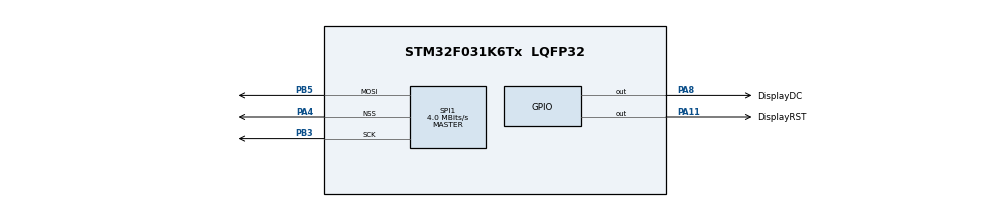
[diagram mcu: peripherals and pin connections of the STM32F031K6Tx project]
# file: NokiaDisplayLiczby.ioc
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Mcu.Family=STM32F0
Mcu.Name=STM32F031K6Tx
Mcu.Package=LQFP32
PA11.GPIO_Label=DisplayRST
PA11.Signal=GPIO_Output
PA4.Mode=NSS_Signal_Hard_Output
PA4.Signal=SPI1_NSS
PA8.GPIO_Label=DisplayDC
PA8.Signal=GPIO_Output
PB3.Mode=TX_Only_Simplex_Unidirect_Master
PB3.Signal=SPI1_SCK
PB5.Mode=TX_Only_Simplex_Unidirect_Master
PB5.Signal=SPI1_MOSI
ProjectManager.HeapSize=0x200
ProjectManager.StackSize=0x400
ProjectManager.TargetToolchain=SW4STM32
SPI1.BaudRatePrescaler=SPI_BAUDRATEPRESCALER_2
SPI1.CalculateBaudRate=4.0 MBits/s
SPI1.DataSize=SPI_DATASIZE_8BIT
SPI1.Direction=SPI_DIRECTION_2LINES
SPI1.Mode=SPI_MODE_MASTER
SPI1.VirtualNSS=VM_NSSHARD
SPI1.VirtualType=VM_MASTER
board=NokiaDisplayLiczby

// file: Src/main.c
/**
  ******************************************************************************
  * File Name          : main.c
  * Description        : Main program body
  ******************************************************************************
  *
  * COPYRIGHT(c) 2017 STMicroelectronics
  *
  * Redistribution and use in source and binary forms, with or without modification,
  * are permitted provided that the following conditions are met:
  *   1. Redistributions of source code must retain the above copyright notice,
  *      this list of conditions and the following disclaimer.
  *   2. Redistributions in binary form must reproduce the above copyright notice,
  *      this list of conditions and the following disclaimer in the documentation
  *      and/or other materials provided with the distribution.
  *   3. Neither the name of STMicroelectronics nor the names of its contributors
  *      may be used to endorse or promote products derived from this software
  *      without specific prior written permission.
  *
  * THIS SOFTWARE IS PROVIDED BY THE COPYRIGHT HOLDERS AND CONTRIBUTORS "AS IS"
  * AND ANY EXPRESS OR IMPLIED WARRANTIES, INCLUDING, BUT NOT LIMITED TO, THE
  * IMPLIED WARRANTIES OF MERCHANTABILITY AND FITNESS FOR A PARTICULAR PURPOSE ARE
  * DISCLAIMED. IN NO EVENT SHALL THE COPYRIGHT HOLDER OR CONTRIBUTORS BE LIABLE
  * FOR ANY DIRECT, INDIRECT, INCIDENTAL, SPECIAL, EXEMPLARY, OR CONSEQUENTIAL
  * DAMAGES (INCLUDING, BUT NOT LIMITED TO, PROCUREMENT OF SUBSTITUTE GOODS OR
  * SERVICES; LOSS OF USE, DATA, OR PROFITS; OR BUSINESS INTERRUPTION) HOWEVER
  * CAUSED AND ON ANY THEORY OF LIABILITY, WHETHER IN CONTRACT, STRICT LIABILITY,
  * OR TORT (INCLUDING NEGLIGENCE OR OTHERWISE) ARISING IN ANY WAY OUT OF THE USE
  * OF THIS SOFTWARE, EVEN IF ADVISED OF THE POSSIBILITY OF SUCH DAMAGE.
  *
  ******************************************************************************
  */
#include "main.h"
#include "stm32f0xx_hal.h"

SPI_HandleTypeDef hspi1;

/* USER CODE BEGIN PV */
/* Private variables ---------------------------------------------------------*/
uint8_t alphabet[][4] = {
		{0b01111110, 0b01000010, 0b01111110, 0b00000000},//0
		{0b00000000, 0b00000010, 0b01111110, 0b00000000},//1
		{0b01111010, 0b01001010, 0b01001110, 0b00000000},//2
		{0b01001010, 0b01001010, 0b01111110, 0b00000000},//3
		{0b00001110, 0b00001000, 0b01111000, 0b00000000},//4
		{0b01001110, 0b01001010, 0b01111010, 0b00000000},//5
		{0b01111110, 0b01010010, 0b01110010, 0b00000000},//6
		{0b00000010, 0b00000010, 0b01111110, 0b00000000},//7
		{0b01111110, 0b01001010, 0b01111110, 0b00000000},//8
		{0b00001110, 0b00001010, 0b01111110, 0b00000000},//9
		{0b00010000, 0b00111000, 0b00010000, 0b00000000},//+
		{0b00101000, 0b00101000, 0b00101000, 0b00000000},//=
		{0b00000000, 0b00000000, 0b00000000, 0b00000000} //space
};

typedef enum {
	ZERO, ONE, TWO, THREE, FOUR, FIVE, SIX, SEVEN, EIGHT, NINE,
	PLUS, EQUALS, SPACE} symbol;
/* USER CODE END PV */

void SystemClock_Config(void);
void Error_Handler(void);
static void MX_GPIO_Init(void);
static void MX_SPI1_Init(void);

/* USER CODE BEGIN PFP */
/* Private function prototypes -----------------------------------------------*/

/* dispalyData
 * sent data to Nokia 5110 display
 * 	data - data you want to send
 */
//void displayData(uint8_t* data){
//	HAL_GPIO_WritePin(DisplayDC_GPIO_Port, DisplayDC_Pin, GPIO_PIN_SET);
//	HAL_SPI_Transmit(&hspi1, data, sizeof(data), 1000);
//}
void displayData(symbol sym){
	uint8_t* data = &alphabet[sym];
	HAL_GPIO_WritePin(DisplayDC_GPIO_Port, DisplayDC_Pin, GPIO_PIN_SET);
	HAL_SPI_Transmit(&hspi1, data, sizeof(data), 1000);
}

/* displayNewLine
 * write characters in new line
 * 	curline - current text line
 */
void displayNewLine(uint curline){
	if(curline<6){
		curline = (curline+1)%6;
		HAL_GPIO_WritePin(DisplayDC_GPIO_Port, DisplayDC_Pin, GPIO_PIN_RESET);
		uint8_t data = 64 + curline; //increment x coordinate
		HAL_SPI_Transmit(&hspi1, &data, sizeof(data), 1000);
		data = 128;//set y coordinate to 0
		HAL_SPI_Transmit(&hspi1, &data, sizeof(data), 1000);
	}
}

/* displayInit
 * Set pins and set normal printing command to Nokia 5110 Display
 */
void displayInit(void){
	uint8_t data;
	HAL_GPIO_WritePin(DisplayDC_GPIO_Port, DisplayDC_Pin, GPIO_PIN_RESET);//DC=0, command
	data = 0x21; // H=1, use extended instruction set
	HAL_SPI_Transmit(&hspi1, &data, sizeof(data), 1000);
	data = 0x14; //BS2=1, Bias System set
	HAL_SPI_Transmit(&hspi1, &data, sizeof(data), 1000);
	data = 0x80|0x3f; //Vop= number after OR, contrast?
	HAL_SPI_Transmit(&hspi1, &data, sizeof(data), 1000);
	data = 0x20; //PD, V, H =0, chip is active, horizontal addressing, use basic instruction set
	HAL_SPI_Transmit(&hspi1, &data, sizeof(data), 1000);
	data = 0x0c;//normal mode
	HAL_SPI_Transmit(&hspi1, &data, sizeof(data), 1000);

}

/* USER CODE END PFP */

int main(void)
{

  /* USER CODE BEGIN 1 */
	int i;

  /* USER CODE END 1 */

  /* MCU Configuration----------------------------------------------------------*/

  /* Reset of all peripherals, Initializes the Flash interface and the Systick. */
  HAL_Init();

  /* Configure the system clock */
  SystemClock_Config();

  /* Initialize all configured peripherals */
  MX_GPIO_Init();
  MX_SPI1_Init();

  /* USER CODE BEGIN 2 */
  /*Reset after turning display on - detasheet advice*/
  HAL_GPIO_WritePin(DisplayRST_GPIO_Port, DisplayRST_Pin, GPIO_PIN_RESET);//reset part 1
  HAL_GPIO_WritePin(DisplayRST_GPIO_Port, DisplayRST_Pin, GPIO_PIN_SET); //reset part 2

  displayInit();
  for(i=0;i<126;i++) displayData(SPACE); //fill blank
  displayData(SIX);
  displayData(EQUALS);
  displayData(THREE);
  displayData(PLUS);
  displayData(TWO);
  displayData(PLUS);
  displayData(ONE);
  displayNewLine(0);
  displayData(TWO);
  displayData(EIGHT);
  displayData(EQUALS);
  displayData(ONE);
  displayData(FOUR);
  displayData(PLUS);
  displayData(SEVEN);
  displayData(PLUS);
  displayData(FOUR);
  displayData(PLUS);
  displayData(TWO);
  displayData(PLUS);
  displayData(ONE);
  displayNewLine(1);
  displayData(FOUR);
  displayData(NINE);
  displayData(SIX);
  displayData(SPACE);
  displayData(EIGHT);
  displayData(ONE);
  displayData(TWO);
  displayData(EIGHT);
  displayNewLine(2);
  displayData(THREE);
  displayData(THREE);
  displayData(FIVE);
  displayData(FIVE);
  displayData(ZERO);
  displayData(THREE);
  displayData(THREE);
  displayData(SIX);
  displayNewLine(3);

  /* USER CODE END 2 */

  /* Infinite loop */
  while (1)
  {

  }

}

/** System Clock Configuration
*/
void SystemClock_Config(void)
{

  RCC_OscInitTypeDef RCC_OscInitStruct;
  RCC_ClkInitTypeDef RCC_ClkInitStruct;

    /**Initializes the CPU, AHB and APB busses clocks
    */
  RCC_OscInitStruct.OscillatorType = RCC_OSCILLATORTYPE_HSI;
  RCC_OscInitStruct.HSIState = RCC_HSI_ON;
  RCC_OscInitStruct.HSICalibrationValue = 16;
  RCC_OscInitStruct.PLL.PLLState = RCC_PLL_NONE;
  if (HAL_RCC_OscConfig(&RCC_OscInitStruct) != HAL_OK)
  {
    Error_Handler();
  }

    /**Initializes the CPU, AHB and APB busses clocks
    */
  RCC_ClkInitStruct.ClockType = RCC_CLOCKTYPE_HCLK|RCC_CLOCKTYPE_SYSCLK
                              |RCC_CLOCKTYPE_PCLK1;
  RCC_ClkInitStruct.SYSCLKSource = RCC_SYSCLKSOURCE_HSI;
  RCC_ClkInitStruct.AHBCLKDivider = RCC_SYSCLK_DIV1;
  RCC_ClkInitStruct.APB1CLKDivider = RCC_HCLK_DIV1;

  if (HAL_RCC_ClockConfig(&RCC_ClkInitStruct, FLASH_LATENCY_0) != HAL_OK)
  {
    Error_Handler();
  }

    /**Configure the Systick interrupt time
    */
  HAL_SYSTICK_Config(HAL_RCC_GetHCLKFreq()/1000);

    /**Configure the Systick
    */
  HAL_SYSTICK_CLKSourceConfig(SYSTICK_CLKSOURCE_HCLK);

  /* SysTick_IRQn interrupt configuration */
  HAL_NVIC_SetPriority(SysTick_IRQn, 0, 0);
}

/* SPI1 init function */
static void MX_SPI1_Init(void)
{

  hspi1.Instance = SPI1;
  hspi1.Init.Mode = SPI_MODE_MASTER;
  hspi1.Init.Direction = SPI_DIRECTION_2LINES;
  hspi1.Init.DataSize = SPI_DATASIZE_8BIT;
  hspi1.Init.CLKPolarity = SPI_POLARITY_LOW;
  hspi1.Init.CLKPhase = SPI_PHASE_1EDGE;
  hspi1.Init.NSS = SPI_NSS_HARD_OUTPUT;
  hspi1.Init.BaudRatePrescaler = SPI_BAUDRATEPRESCALER_2;
  hspi1.Init.FirstBit = SPI_FIRSTBIT_MSB;
  hspi1.Init.TIMode = SPI_TIMODE_DISABLE;
  hspi1.Init.CRCCalculation = SPI_CRCCALCULATION_DISABLE;
  hspi1.Init.CRCPolynomial = 7;
  hspi1.Init.CRCLength = SPI_CRC_LENGTH_DATASIZE;
  hspi1.Init.NSSPMode = SPI_NSS_PULSE_ENABLE;
  if (HAL_SPI_Init(&hspi1) != HAL_OK)
  {
    Error_Handler();
  }

}

/** Configure pins as
        * Analog
        * Input
        * Output
        * EVENT_OUT
        * EXTI
*/
static void MX_GPIO_Init(void)
{

  GPIO_InitTypeDef GPIO_InitStruct;

  /* GPIO Ports Clock Enable */
  __HAL_RCC_GPIOA_CLK_ENABLE();
  __HAL_RCC_GPIOB_CLK_ENABLE();

  /*Configure GPIO pin Output Level */
  HAL_GPIO_WritePin(GPIOA, DisplayDC_Pin|DisplayRST_Pin, GPIO_PIN_RESET);

  /*Configure GPIO pins : DisplayDC_Pin DisplayRST_Pin */
  GPIO_InitStruct.Pin = DisplayDC_Pin|DisplayRST_Pin;
  GPIO_InitStruct.Mode = GPIO_MODE_OUTPUT_PP;
  GPIO_InitStruct.Pull = GPIO_NOPULL;
  GPIO_InitStruct.Speed = GPIO_SPEED_FREQ_LOW;
  HAL_GPIO_Init(GPIOA, &GPIO_InitStruct);

}

void Error_Handler(void)
{
  while(1)
  {
  }
}

/************************ (C) COPYRIGHT STMicroelectronics *****END OF FILE****/
